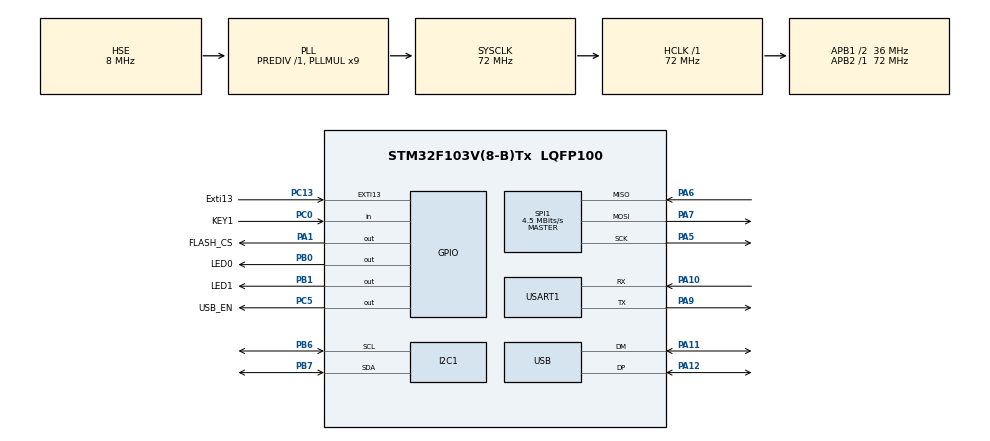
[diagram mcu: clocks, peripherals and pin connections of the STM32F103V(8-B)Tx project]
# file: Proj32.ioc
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ADC1.Channel-0\#ChannelRegularConversion=ADC_CHANNEL_TEMPSENSOR
ADC1.NbrOfConversionFlag=1
ADC1.Rank-0\#ChannelRegularConversion=1
ADC1.SamplingTime-0\#ChannelRegularConversion=ADC_SAMPLETIME_1CYCLE_5
ADC1.master=1
FATFS._CODE_PAGE=936
FATFS._FS_TINY=1
FATFS._MAX_SS=4096
FATFS._MIN_SS=4096
Mcu.Family=STM32F1
Mcu.Name=STM32F103V(8-B)Tx
Mcu.Package=LQFP100
NVIC.EXTI15_10_IRQn=true\:0\:0\:false\:false\:true\:true\:true
NVIC.PriorityGroup=NVIC_PRIORITYGROUP_4
NVIC.USART1_IRQn=true\:0\:0\:false\:false\:true\:true\:true
NVIC.USB_LP_CAN1_RX0_IRQn=true\:0\:0\:false\:false\:true\:true\:true
OSC_IN.Mode=HSE-External-Oscillator
OSC_IN.Signal=RCC_OSC_IN
OSC_OUT.Mode=HSE-External-Oscillator
OSC_OUT.Signal=RCC_OSC_OUT
PA1.GPIO_Label=FLASH_CS
PA1.GPIO_ModeDefaultOutputPP=GPIO_MODE_OUTPUT_PP
PA1.GPIO_PuPd=GPIO_PULLUP
PA1.GPIO_Speed=GPIO_SPEED_FREQ_HIGH
PA1.PinState=GPIO_PIN_SET
PA1.Signal=GPIO_Output
PA10.Mode=Asynchronous
PA10.Signal=USART1_RX
PA11.Mode=Device
PA11.Signal=USB_DM
PA12.Mode=Device
PA12.Signal=USB_DP
PA13.Mode=Serial_Wire
PA13.Signal=SYS_JTMS-SWDIO
PA14.Mode=Serial_Wire
PA14.Signal=SYS_JTCK-SWCLK
PA5.Mode=Full_Duplex_Master
PA5.Signal=SPI1_SCK
PA6.Mode=Full_Duplex_Master
PA6.Signal=SPI1_MISO
PA7.Mode=Full_Duplex_Master
PA7.Signal=SPI1_MOSI
PA9.Mode=Asynchronous
PA9.Signal=USART1_TX
PB0.GPIO_Label=LED0
PB0.GPIO_ModeDefaultOutputPP=GPIO_MODE_OUTPUT_PP
PB0.GPIO_PuPd=GPIO_PULLUP
PB0.GPIO_Speed=GPIO_SPEED_FREQ_HIGH
PB0.PinState=GPIO_PIN_SET
PB0.Signal=GPIO_Output
PB1.GPIO_Label=LED1
PB1.GPIO_PuPd=GPIO_PULLDOWN
PB1.GPIO_Speed=GPIO_SPEED_FREQ_HIGH
PB1.PinState=GPIO_PIN_SET
PB1.Signal=GPIO_Output
PB6.Mode=I2C
PB6.Signal=I2C1_SCL
PB7.Mode=I2C
PB7.Signal=I2C1_SDA
PC0.GPIO_Label=KEY1
PC0.GPIO_PuPd=GPIO_PULLDOWN
PC0.Signal=GPIO_Input
PC13-TAMPER-RTC.GPIO_Label=Exti13
PC13-TAMPER-RTC.GPIO_ModeDefaultEXTI=GPIO_MODE_IT_RISING
PC13-TAMPER-RTC.GPIO_PuPd=GPIO_PULLDOWN
PC13-TAMPER-RTC.Signal=GPXTI13
PC5.GPIO_Label=USB_EN
PC5.GPIO_PuPd=GPIO_PULLDOWN
PC5.GPIO_Speed=GPIO_SPEED_FREQ_HIGH
PC5.PinState=GPIO_PIN_SET
PC5.Signal=GPIO_Output
ProjectManager.HeapSize=0x1000
ProjectManager.StackSize=0x1000
ProjectManager.TargetToolchain=STM32CubeIDE
RCC.ADCPresc=RCC_ADCPCLK2_DIV6
RCC.AHBFreq_Value=72000000
RCC.APB1CLKDivider=RCC_HCLK_DIV2
RCC.APB1Freq_Value=36000000
RCC.APB1TimFreq_Value=72000000
RCC.APB2Freq_Value=72000000
RCC.APB2TimFreq_Value=72000000
RCC.HCLKFreq_Value=72000000
RCC.PLLMUL=RCC_PLL_MUL9
RCC.PLLSourceVirtual=RCC_PLLSOURCE_HSE
RCC.SYSCLKFreq_VALUE=72000000
RCC.SYSCLKSource=RCC_SYSCLKSOURCE_PLLCLK
RCC.USBFreq_Value=48000000
RCC.USBPrescaler=RCC_USBCLKSOURCE_PLL_DIV1_5
SPI1.BaudRatePrescaler=SPI_BAUDRATEPRESCALER_16
SPI1.CalculateBaudRate=4.5 MBits/s
SPI1.Direction=SPI_DIRECTION_2LINES
SPI1.Mode=SPI_MODE_MASTER
SPI1.VirtualType=VM_MASTER
USART1.VirtualMode=VM_ASYNC
USB_DEVICE.CLASS_NAME_FS=CDC
USB_DEVICE.VirtualMode=Cdc
USB_DEVICE.VirtualModeFS=Cdc_FS
VP_ADC1_TempSens_Input.Mode=IN-TempSens
VP_FATFS_VS_Generic.Mode=User_defined
VP_USB_DEVICE_VS_USB_DEVICE_CDC_FS.Mode=CDC_FS
board=custom

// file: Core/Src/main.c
/* USER CODE BEGIN Header */
/**
  ******************************************************************************
  * @file           : main.c
  * @brief          : Main program body
  ******************************************************************************
  * @attention
  *
  * Copyright (c) 2021 STMicroelectronics.
  * All rights reserved.
  *
  * This software is licensed under terms that can be found in the LICENSE file
  * in the root directory of this software component.
  * If no LICENSE file comes with this software, it is provided AS-IS.
  *
  ******************************************************************************
  */
/* USER CODE END Header */
#include "main.h"
#include "fatfs.h"
#include "usb_device.h"

/* USER CODE BEGIN Includes */
#include "stdio.h"
#include "bsp_spi_flash.h"
#include "oled.h"
#include "bmp.h"
#include "usbd_cdc_if.h"
/* USER CODE END Includes */

/* USER CODE BEGIN PTD */
uint8_t rx_buff[100];  //接收缓存
uint8_t rx_done = 0; //接收完成标志
uint8_t rx_cnt = 0;//接收数据长度
//IIC全局变量
#define ADDR_WR_AT24CXX 0xA0 //写器件地址
#define ADDR_RD_AT24CXX 0xA1 //读器件地址
#define BuffSize 256
uint8_t Wr_buff[BuffSize],Rd_buff[BuffSize];//读写数据buff
//CAN全局变量
//CAN_TxHeaderTypeDef TxHeaderCAN;
//CAN_RxHeaderTypeDef RxHeaderCAN;
uint8_t TxDataCAN[8],RxDataCAN[8];
uint8_t CAN_Rx_Flag=0;//CAN接收标志

/* USER CODE END PTD */

/* USER CODE BEGIN PD */
void EEPROM_IIC_Test(void);
void SPI_FLASH_Test(void);
void FATFS_FLASH_Test(void);
void OLED_IIC_Test(void);
void CAN_Test(void);
void filter_init(void);
void FLASH_Inside_Test(void);
void Get_MCU_Info(void);
void Get_Temp(void);
/* USER CODE END PD */

ADC_HandleTypeDef hadc1;

extern I2C_HandleTypeDef hi2c1;

extern SPI_HandleTypeDef hspi1;

UART_HandleTypeDef huart1;

void SystemClock_Config(void);
static void MX_GPIO_Init(void);
static void MX_USART1_UART_Init(void);
static void MX_I2C1_Init(void);
static void MX_SPI1_Init(void);
static void MX_ADC1_Init(void);

int main(void)
{

  /* MCU Configuration--------------------------------------------------------*/

  /* Reset of all peripherals, Initializes the Flash interface and the Systick. */
  HAL_Init();

  /* Configure the system clock */
  SystemClock_Config();

  /* Initialize all configured peripherals */
  MX_GPIO_Init();
  MX_USART1_UART_Init();
  MX_I2C1_Init();
  MX_SPI1_Init();
  MX_ADC1_Init();
  MX_USB_DEVICE_Init();
  MX_FATFS_Init();
  /* USER CODE BEGIN 2 */
  //EEPROM测试
  EEPROM_IIC_Test();
  SPI_FLASH_Test();
  FATFS_FLASH_Test();
  //OLED_IIC_Test();
  //filter_init();
  //CAN_Test();
  FLASH_Inside_Test();
  Get_MCU_Info();

  /* USER CODE END 2 */

  /* Infinite loop */
  /* USER CODE BEGIN WHILE */
    HAL_GPIO_WritePin(USB_EN_GPIO_Port,USB_EN_Pin,SET);
    HAL_Delay(2000);
    HAL_GPIO_WritePin(USB_EN_GPIO_Port,USB_EN_Pin,RESET);
    HAL_Delay(2000);

  u_char USB_CDC_buff[] = {"STM32 HAL库USB虚拟串口测试!\r\n"};
  while (1)
  {

      CDC_Transmit_FS(USB_CDC_buff, sizeof(USB_CDC_buff));
      HAL_Delay(2000);
      //采集温度
      //Get_Temp();

    /* USER CODE END WHILE */

  }
}

void SystemClock_Config(void)
{
  RCC_OscInitTypeDef RCC_OscInitStruct = {0};
  RCC_ClkInitTypeDef RCC_ClkInitStruct = {0};
  RCC_PeriphCLKInitTypeDef PeriphClkInit = {0};

  /** Initializes the RCC Oscillators according to the specified parameters
  * in the RCC_OscInitTypeDef structure.
  */
  RCC_OscInitStruct.OscillatorType = RCC_OSCILLATORTYPE_HSE;
  RCC_OscInitStruct.HSEState = RCC_HSE_ON;
  RCC_OscInitStruct.HSEPredivValue = RCC_HSE_PREDIV_DIV1;
  RCC_OscInitStruct.HSIState = RCC_HSI_ON;
  RCC_OscInitStruct.PLL.PLLState = RCC_PLL_ON;
  RCC_OscInitStruct.PLL.PLLSource = RCC_PLLSOURCE_HSE;
  RCC_OscInitStruct.PLL.PLLMUL = RCC_PLL_MUL9;
  if (HAL_RCC_OscConfig(&RCC_OscInitStruct) != HAL_OK)
  {
    Error_Handler();
  }
  /** Initializes the CPU, AHB and APB buses clocks
  */
  RCC_ClkInitStruct.ClockType = RCC_CLOCKTYPE_HCLK|RCC_CLOCKTYPE_SYSCLK
                              |RCC_CLOCKTYPE_PCLK1|RCC_CLOCKTYPE_PCLK2;
  RCC_ClkInitStruct.SYSCLKSource = RCC_SYSCLKSOURCE_PLLCLK;
  RCC_ClkInitStruct.AHBCLKDivider = RCC_SYSCLK_DIV1;
  RCC_ClkInitStruct.APB1CLKDivider = RCC_HCLK_DIV2;
  RCC_ClkInitStruct.APB2CLKDivider = RCC_HCLK_DIV1;

  if (HAL_RCC_ClockConfig(&RCC_ClkInitStruct, FLASH_LATENCY_2) != HAL_OK)
  {
    Error_Handler();
  }
  PeriphClkInit.PeriphClockSelection = RCC_PERIPHCLK_ADC|RCC_PERIPHCLK_USB;
  PeriphClkInit.AdcClockSelection = RCC_ADCPCLK2_DIV6;
  PeriphClkInit.UsbClockSelection = RCC_USBCLKSOURCE_PLL_DIV1_5;
  if (HAL_RCCEx_PeriphCLKConfig(&PeriphClkInit) != HAL_OK)
  {
    Error_Handler();
  }
}

static void MX_ADC1_Init(void)
{

  ADC_ChannelConfTypeDef sConfig = {0};

  /** Common config
  */
  hadc1.Instance = ADC1;
  hadc1.Init.ScanConvMode = ADC_SCAN_DISABLE;
  hadc1.Init.ContinuousConvMode = DISABLE;
  hadc1.Init.DiscontinuousConvMode = DISABLE;
  hadc1.Init.ExternalTrigConv = ADC_SOFTWARE_START;
  hadc1.Init.DataAlign = ADC_DATAALIGN_RIGHT;
  hadc1.Init.NbrOfConversion = 1;
  if (HAL_ADC_Init(&hadc1) != HAL_OK)
  {
    Error_Handler();
  }
  /** Configure Regular Channel
  */
  sConfig.Channel = ADC_CHANNEL_TEMPSENSOR;
  sConfig.Rank = ADC_REGULAR_RANK_1;
  sConfig.SamplingTime = ADC_SAMPLETIME_1CYCLE_5;
  if (HAL_ADC_ConfigChannel(&hadc1, &sConfig) != HAL_OK)
  {
    Error_Handler();
  }

}

static void MX_I2C1_Init(void)
{

  hi2c1.Instance = I2C1;
  hi2c1.Init.ClockSpeed = 100000;
  hi2c1.Init.DutyCycle = I2C_DUTYCYCLE_2;
  hi2c1.Init.OwnAddress1 = 0;
  hi2c1.Init.AddressingMode = I2C_ADDRESSINGMODE_7BIT;
  hi2c1.Init.DualAddressMode = I2C_DUALADDRESS_DISABLE;
  hi2c1.Init.OwnAddress2 = 0;
  hi2c1.Init.GeneralCallMode = I2C_GENERALCALL_DISABLE;
  hi2c1.Init.NoStretchMode = I2C_NOSTRETCH_DISABLE;
  if (HAL_I2C_Init(&hi2c1) != HAL_OK)
  {
    Error_Handler();
  }

}

static void MX_SPI1_Init(void)
{

  /* SPI1 parameter configuration*/
  hspi1.Instance = SPI1;
  hspi1.Init.Mode = SPI_MODE_MASTER;
  hspi1.Init.Direction = SPI_DIRECTION_2LINES;
  hspi1.Init.DataSize = SPI_DATASIZE_8BIT;
  hspi1.Init.CLKPolarity = SPI_POLARITY_LOW;
  hspi1.Init.CLKPhase = SPI_PHASE_1EDGE;
  hspi1.Init.NSS = SPI_NSS_SOFT;
  hspi1.Init.BaudRatePrescaler = SPI_BAUDRATEPRESCALER_16;
  hspi1.Init.FirstBit = SPI_FIRSTBIT_MSB;
  hspi1.Init.TIMode = SPI_TIMODE_DISABLE;
  hspi1.Init.CRCCalculation = SPI_CRCCALCULATION_DISABLE;
  hspi1.Init.CRCPolynomial = 10;
  if (HAL_SPI_Init(&hspi1) != HAL_OK)
  {
    Error_Handler();
  }

}

static void MX_USART1_UART_Init(void)
{

  huart1.Instance = USART1;
  huart1.Init.BaudRate = 115200;
  huart1.Init.WordLength = UART_WORDLENGTH_8B;
  huart1.Init.StopBits = UART_STOPBITS_1;
  huart1.Init.Parity = UART_PARITY_NONE;
  huart1.Init.Mode = UART_MODE_TX_RX;
  huart1.Init.HwFlowCtl = UART_HWCONTROL_NONE;
  huart1.Init.OverSampling = UART_OVERSAMPLING_16;
  if (HAL_UART_Init(&huart1) != HAL_OK)
  {
    Error_Handler();
  }
  /* USER CODE BEGIN USART1_Init 2 */
  //开启接收中断，空闲中断
  __HAL_UART_ENABLE_IT(&huart1,UART_IT_IDLE|UART_IT_RXNE);
  /* USER CODE END USART1_Init 2 */

}

static void MX_GPIO_Init(void)
{
  GPIO_InitTypeDef GPIO_InitStruct = {0};

  /* GPIO Ports Clock Enable */
  __HAL_RCC_GPIOC_CLK_ENABLE();
  __HAL_RCC_GPIOA_CLK_ENABLE();
  __HAL_RCC_GPIOB_CLK_ENABLE();

  /*Configure GPIO pin Output Level */
  HAL_GPIO_WritePin(FLASH_CS_GPIO_Port, FLASH_CS_Pin, GPIO_PIN_SET);

  /*Configure GPIO pin Output Level */
  HAL_GPIO_WritePin(USB_EN_GPIO_Port, USB_EN_Pin, GPIO_PIN_SET);

  /*Configure GPIO pin Output Level */
  HAL_GPIO_WritePin(GPIOB, LED0_Pin|LED1_Pin, GPIO_PIN_SET);

  /*Configure GPIO pin : Exti13_Pin */
  GPIO_InitStruct.Pin = Exti13_Pin;
  GPIO_InitStruct.Mode = GPIO_MODE_IT_RISING;
  GPIO_InitStruct.Pull = GPIO_PULLDOWN;
  HAL_GPIO_Init(Exti13_GPIO_Port, &GPIO_InitStruct);

  /*Configure GPIO pin : KEY1_Pin */
  GPIO_InitStruct.Pin = KEY1_Pin;
  GPIO_InitStruct.Mode = GPIO_MODE_INPUT;
  GPIO_InitStruct.Pull = GPIO_PULLDOWN;
  HAL_GPIO_Init(KEY1_GPIO_Port, &GPIO_InitStruct);

  /*Configure GPIO pin : FLASH_CS_Pin */
  GPIO_InitStruct.Pin = FLASH_CS_Pin;
  GPIO_InitStruct.Mode = GPIO_MODE_OUTPUT_PP;
  GPIO_InitStruct.Pull = GPIO_PULLUP;
  GPIO_InitStruct.Speed = GPIO_SPEED_FREQ_HIGH;
  HAL_GPIO_Init(FLASH_CS_GPIO_Port, &GPIO_InitStruct);

  /*Configure GPIO pin : USB_EN_Pin */
  GPIO_InitStruct.Pin = USB_EN_Pin;
  GPIO_InitStruct.Mode = GPIO_MODE_OUTPUT_PP;
  GPIO_InitStruct.Pull = GPIO_PULLDOWN;
  GPIO_InitStruct.Speed = GPIO_SPEED_FREQ_HIGH;
  HAL_GPIO_Init(USB_EN_GPIO_Port, &GPIO_InitStruct);

  /*Configure GPIO pin : LED0_Pin */
  GPIO_InitStruct.Pin = LED0_Pin;
  GPIO_InitStruct.Mode = GPIO_MODE_OUTPUT_PP;
  GPIO_InitStruct.Pull = GPIO_PULLUP;
  GPIO_InitStruct.Speed = GPIO_SPEED_FREQ_HIGH;
  HAL_GPIO_Init(LED0_GPIO_Port, &GPIO_InitStruct);

  /*Configure GPIO pin : LED1_Pin */
  GPIO_InitStruct.Pin = LED1_Pin;
  GPIO_InitStruct.Mode = GPIO_MODE_OUTPUT_PP;
  GPIO_InitStruct.Pull = GPIO_PULLDOWN;
  GPIO_InitStruct.Speed = GPIO_SPEED_FREQ_HIGH;
  HAL_GPIO_Init(LED1_GPIO_Port, &GPIO_InitStruct);

  /* EXTI interrupt init*/
  HAL_NVIC_SetPriority(EXTI15_10_IRQn, 0, 0);
  HAL_NVIC_EnableIRQ(EXTI15_10_IRQn);

}

/* USER CODE BEGIN 4 */
/**
  * @brief 读取内部温度传感器
  */
void Get_Temp(void)
{
    uint32_t Temp;//温度采样分层值
    float Vsense = 0.0;//温度采样电压值
    float Temperature = 0.0;//温度值
    //数据手册温度转换公式：T = ((V25-Vsense)/Avg_Slope) + 25
    float V25 = 1.43;//查阅手册获得
    float Avg_Slope = 0.0043;//4.3mV/摄氏度
    printf("\r\n\r\n------------------MCU内部温度传感器测试------------------\r\n\r\n");
    //step1 启动ADC
    HAL_ADC_Start(&hadc1);
    //step2 温度采集转换
    HAL_ADC_PollForConversion(&hadc1,5);
    //step3 转换计算
    Temp = HAL_ADC_GetValue(&hadc1);//获取采样值分层值
    Vsense = Temp *(3.3/4096);//采样精度12bit,最大分层值4096
    Temperature = ((V25-Vsense)/Avg_Slope) + 25;//按公式计算温度值
    //step4 串口打印

    printf("温度分层值：%d\r\n温度电压值：%0.3f\r\n温度采样值：%0.3f\r\n",Temp,Vsense,Temperature);

    HAL_Delay(1000);
}
/**
  * @brief 获取MCU设备信息
  */
void Get_MCU_Info(void)
{
    printf("\r\n\r\n------------------获取单片机设备信息------------------\r\n\r\n");
    uint32_t  FLASH_Size_Addr = 0x1FFFF7E0;//FLASH大小存储地址
    //获取存储器大小
    printf("     FLASH  Size: %dKB\r\n",*(uint16_t *)FLASH_Size_Addr);
    //获取HAL版本
    uint32_t HALVer = HAL_GetHalVersion();
    printf("    HAL  Version: V%d.%d.%d\r\n",HALVer>>24,(HALVer>>16)&0xFF,(HALVer>>8)&0xFF);
   //获取保留ID？
    printf("    Revision    ID: 0x%X\r\n",HAL_GetREVID());
    //获取全球唯一UID
    printf("Unique ID(UID): 0x%08X %08X %08X\r\n",HAL_GetUIDw0(),HAL_GetUIDw1(),HAL_GetUIDw2());

    //获取设备ID
    printf("Device ID or Chip ID or Product ID(PID): 0x%x\r\n",HAL_GetDEVID());

}
/**
  * @brief 往内部FLASH写入数据
  * @param addr 写入地址
  * @param pdata 存储待写数据
  * @retval None
  */
void FLASH_Inside_Wr(uint32_t addr,uint32_t Pdata)
{
    //定义局部变量
    uint32_t PageError = 0;
    HAL_StatusTypeDef HAL_Status;
    //擦除配置信息结构体，包括擦除地址、方式、页数等
    FLASH_EraseInitTypeDef pEraseInit;
    pEraseInit.TypeErase = FLASH_TYPEERASE_PAGES;//按页擦除
    pEraseInit.PageAddress = addr;//擦除地址
    pEraseInit.NbPages = 1;//擦除页数量
    //step1 解锁内部FLASH，允许读写功能
    HAL_FLASH_Unlock();
    //step2 开始擦除addr对应页
    HAL_Status = HAL_FLASHEx_Erase(&pEraseInit,&PageError);//擦除
    if(HAL_Status != HAL_OK) printf("内部FlASH擦除失败！\r\n");
    //step3 写入数据
    HAL_FLASH_Program(FLASH_TYPEPROGRAM_WORD,addr,Pdata);
    //step4 锁定FLASH
    HAL_FLASH_Lock();
}
/**
  * @brief 读取内部FLASH数据
  * @param addr 读取地址
  * @retval 读出的数据
  */
uint32_t FLASH_Inside_Rd(uint32_t addr)
{
    //定义局部变量
    uint32_t RdData = 0;
    //step1 解锁内部FLASH，允许读写功能
    HAL_FLASH_Unlock();
    RdData = *(__IO uint32_t *)addr;
    //step2 锁定FLASH
    HAL_FLASH_Lock();

    return RdData;
}
/**
  * @brief 内部FLASH读写测试
  */
void FLASH_Inside_Test(void)
{
    printf("\r\n\r\n------------------内部FLASH读写测试------------------\r\n\r\n");
    uint32_t addr = 0x08010000;//确保该地址内部FLASH是空余的！
    uint32_t WrData = 0x01234567;//待写入数据
    uint32_t RdData = 0;//存储读取数据

    printf("地址0x%x写入数据：0x%x\r\n",addr,WrData);
    FLASH_Inside_Wr(addr,WrData);//写入数据
    RdData = FLASH_Inside_Rd(addr);//读取数据
    printf("地址0x%x读出数据：0x%x\r\n",addr,RdData);
}

void filter_init(void)
{/*
    HAL_StatusTypeDef HAL_Status;
    CAN_FilterTypeDef Filter0;
    Filter0.FilterBank = 1;//滤波器编号
    Filter0.FilterMode = CAN_FILTERMODE_IDMASK;
    Filter0.FilterScale = CAN_FILTERSCALE_32BIT;
    Filter0.FilterIdHigh = 0x00;
    Filter0.FilterIdLow = 0x00;
    Filter0.FilterMaskIdHigh = 0x00;
    Filter0.FilterMaskIdLow = 0x00;
    Filter0.FilterFIFOAssignment = CAN_FILTER_FIFO0;
    Filter0.FilterActivation = CAN_FILTER_ENABLE;

    HAL_Status = HAL_CAN_ConfigFilter(&hcan,&Filter0);
    if(HAL_Status != HAL_OK)
    {
        printf("CAN Filter set Fail!code:%d\r\n",HAL_Status);
        Error_Handler();
    }
   */
}
void CAN_Test(void)
{/*
    //发送数据CAN
    TxHeaderCAN.ExtId = 0x1800F001;
    TxHeaderCAN.DLC = 8;
    TxHeaderCAN.IDE = CAN_ID_STD;
    TxHeaderCAN.RTR = CAN_RTR_DATA;
    TxHeaderCAN.StdId = 0x01;
    TxHeaderCAN.TransmitGlobalTime = ENABLE;

    uint32_t TxMailBox;
    HAL_StatusTypeDef HAL_Status;
    printf("\r\n\r\n------------------CAN通信测试------------------\r\n\r\n");
    for (int i = 0; i < 8; ++i) TxDataCAN[i] = i;
    printf("CAN发送数据：\r\n");
    for (int i = 0; i < 8; ++i) printf(" 0x%02x",TxDataCAN[i]);
    printf("\r\n");
    HAL_CAN_AddTxMessage(&hcan,&TxHeaderCAN,TxDataCAN,&TxMailBox);
    */
}
//重定义CAN接收中断回调函数
/*
void HAL_CAN_RxFifo0MsgPendingCallback(CAN_HandleTypeDef *hcan)
{
    HAL_StatusTypeDef HAL_Status;
    if(hcan->Instance == CAN1)
    {
        HAL_Status = HAL_CAN_GetRxMessage(hcan,CAN_RX_FIFO0,&RxHeaderCAN,RxDataCAN);
        if(HAL_Status == HAL_OK)
        {
            //处理接收数据
            CAN_Rx_Flag = 1;
        }
    }
}
*/
//0.96 OLED测试
void OLED_IIC_Test(void)
{
    OLED_Init();//初始化OLED
    OLED_Clear();//清除屏幕
    OLED_Display_On();//开启OLED

/*****************************************
	*
	*0.96 OLED 字符显示测试
	*
*******************************************/
    OLED_ShowChar( 0,0,'A',16,0);
    OLED_ShowChar( 8,0,'B',16,0);
    OLED_ShowChar(16,0,'C',16,0);
    OLED_ShowChar(24,0,'D',16,0);

    OLED_ShowChar( 0,2,'A',8,0);
    OLED_ShowChar( 8,2,'B',8,0);
    OLED_ShowChar(16,2,'C',8,0);
    OLED_ShowChar(24,2,'D',8,0);

    OLED_ShowString(25,6,"Char Test!",16,1);

    HAL_Delay(5000);
    OLED_Clear();//清除屏幕

/*****************************************
	*
	*0.96 OLED 数字显示测试
	*
*******************************************/

    OLED_ShowNum(  0,1,12,2,16,0);
    OLED_ShowNum( 48,1,34,2,16,0);
    OLED_ShowNum( 96,1,56,2,16,0);

    OLED_ShowString(25,6,"Num Test!",16,1);

    HAL_Delay(5000);
    OLED_Clear();//清除屏幕

/*****************************************
	*
	*0.96 OLED 中文显示测试
	*
*******************************************/
    OLED_ShowCHinese(22   ,3,1,0);//不
    OLED_ShowCHinese(22+16,3,2,0);//见
    OLED_ShowCHinese(22+32,3,3,0);//不
    OLED_ShowCHinese(22+48,3,4,0);//散
    OLED_ShowCHinese(22+64,3,5,0);//！

    OLED_ShowString(25,6,"CHN Test!",16,1);

    HAL_Delay(5000);
    OLED_Clear();//清除屏幕

/*****************************************
	*
	*0.96 OLED 字符串显示测试
	*
*******************************************/

    OLED_ShowString(0,2,"Nebula-Pi,RYMCU!",16,0);
    OLED_ShowString(25,6,"Str Test!",16,1);
    HAL_Delay(5000);
    OLED_Clear();//清除屏幕
/*****************************************
	*
	*0.96 OLED 图片显示测试
	*
*******************************************/

    OLED_DrawBMP(0,0,Logo,0);//显示图片
    OLED_ShowString(25,6,"PIC Test!",16,1);
    HAL_Delay(5000);
}
//FATFS测试
void FATFS_FLASH_Test(void)
{/*
    FATFS fs;//文件系统对象
    static FIL fnew;//文件对象
    BYTE FATFS_Wr_Buff[128]  ="hello,嵌入式知识开源社区RYMCU欢迎你！\r\n";// 写缓冲区
    BYTE FATFS_Rd_Buff[128]  ={0};// 读缓冲区
    UINT fnum;//成功读写数量
    FRESULT res;//返回值

    printf("\r\n\r\n------------------FLASH FATFS文件系统测试------------------\r\n\r\n");
    res = f_mount(&fs,"0:",1);
    if(res == FR_NO_FILESYSTEM)
    {
        printf("FLASH上没有建立文件系统，开始格式化！\r\n");
        res = f_mkfs("0:",0,0);//格式化
        if(res == FR_OK)
        {
            printf("FLASH文件系统格式化成功！\r\n");
            //格式化成功后先取消，再重新挂载！
            res = f_mount(NULL,"0:",1);
            printf("取消挂载成功！： %d\r\n",res);
            res = f_mount(&fs,"0:",1);
            printf("重新挂载成功！： %d\r\n",res);
        }
        else
        {
            printf("FLASH文件系统格式化失败！\r\n");
        }
    }
    printf("\r\n\r\n-------------------FATFS系统测试：写文件-------------------\r\n");
    //打开文件，文件不存在则创建并打开
    res = f_open(&fnew,"RY.txt",FA_CREATE_ALWAYS | FA_WRITE);
    if(res == FR_OK) printf("打开或创建RY.txt成功！\r\n");
    else             printf("打开或创建RY.txt失败！\r\n");
    //写测试
    res = f_write(&fnew,FATFS_Wr_Buff, sizeof(FATFS_Wr_Buff),&fnum);
    if(res == FR_OK) printf("往RY.txt写入数据：\r\n%s",FATFS_Wr_Buff);
    else             printf("往RY.txt写入数据失败,code: %d!\r\n",res);
    //完成写操作后，关闭文件
    f_close(&fnew);
    printf("\r\n-------------------FATFS系统测试：读文件-------------------\r\n\r\n");
    //打开文件，读方式打开已创建的文件
    res = f_open(&fnew,"RY.txt",FA_OPEN_EXISTING | FA_READ);
    if(res != FR_OK){printf("打开文件失败！\r\n");return;}
    //读测试
    res = f_read(&fnew,FATFS_Rd_Buff, sizeof(FATFS_Rd_Buff),&fnum);
    if(res != FR_OK){printf("读取文件失败！\r\n");return;}
    printf("读取文件数据：\r\n%s\r\n",FATFS_Rd_Buff);
    f_close(&fnew);//读取完毕，关闭文件。
    */
}
//SPI FLASH测试
#define  FLASHBUFFSIZE 64
void SPI_FLASH_Test(void)
{
    uint16_t FLASH_ID;
    uint8_t Flash_Wr_Buff[FLASHBUFFSIZE],Flash_Rd_Buff[FLASHBUFFSIZE];
    printf("SPI总线通信实验，读写8M外部FLASH W25Q64!\r\n",FLASH_ID);
    FLASH_ID = W25QXX_ReadID();//读取W25Q64器件ID
    HAL_Delay(100);
    printf("the FLASH Device ID is 0x%X!\r\n",FLASH_ID);
    //W25Q64 = 8MByte,地址范围：0x000000-0x7FFFFF
    //Sector：每4KB为一个Sector,8M/4K=2048个
    //Block：每64KB为一个Block,8M/64K=128个，每个Block包括16个Sector
    SPI_FLASH_SectorErase(0x00);//擦除第一个Sector
    for (int i = 0; i < FLASHBUFFSIZE; ++i) Flash_Wr_Buff[i] = i;
    SPI_FLASH_BufferWrite(Flash_Wr_Buff,0x00,FLASHBUFFSIZE);
    SPI_FLASH_BufferRead(Flash_Rd_Buff,0x00,FLASHBUFFSIZE);
    printf("Read data form W25Q64: \r\n");
    for(uint16_t i=0;i<FLASHBUFFSIZE;i++)
    {
        printf("0x%02x ",Flash_Rd_Buff[i]);
    }
    printf("\r\n");
}
//EEPROM测试
void EEPROM_IIC_Test(void)
{
    HAL_StatusTypeDef error;
    uint8_t length = 8 ;
    for(uint16_t i = 0;i<256;i++) Wr_buff[i] = i;
    //AT24Cxx地址00开始写入8Byte数据
    error = HAL_I2C_Mem_Write(&hi2c1,ADDR_WR_AT24CXX,0x00,I2C_MEMADD_SIZE_16BIT,Wr_buff,length,1000);
    if(error == HAL_OK) printf("eeprom write done!\r\n");
    else                printf("eeprom write fail!\r\n");
    HAL_Delay(1000);
    //从地址0x00开始读8Byte数据，并打印。
    error = HAL_I2C_Mem_Read(&hi2c1,ADDR_RD_AT24CXX,0x00,I2C_MEMADD_SIZE_16BIT,Rd_buff,length,1000);
    if(error == HAL_OK)
    {
        printf("eeprom read done!\r\n");
        for(uint16_t i=0;i<length;i++)
        {
            printf("0x%02x ",Rd_buff[i]);
        }
        printf("\r\n");
    }
    else  printf("eeprom write fail!\r\n");
}

//重写GPIO中断回调函数
void HAL_GPIO_EXTI_Callback(uint16_t GPIO_Pin)
{
    //翻转LED0
    HAL_GPIO_TogglePin(LED0_GPIO_Port,LED0_Pin);
    //打印中断处理信息
    printf("ExTi13 interrput!\r\n");
}

#ifdef __GNUC__
#define PUTCHAR_PROTOTYPE int __io_putchar(int ch)
#else
#define PUTCHAR_PROTOTYPE int fputc(int ch. FILE *f)
#endif /* __GNUC__ */

//重定向printf函数
PUTCHAR_PROTOTYPE
{
    HAL_UART_Transmit(&huart1,(uint8_t *)&ch,1,0xFFFF);//输出指向串口USART1
    return ch;
}
/* USER CODE END 4 */

void Error_Handler(void)
{
  __disable_irq();
  while (1)
  {
  }
}
